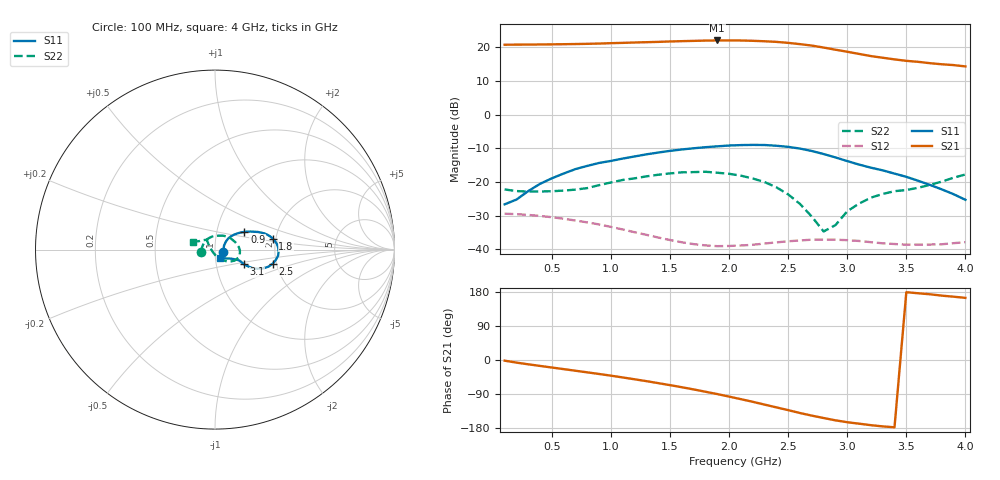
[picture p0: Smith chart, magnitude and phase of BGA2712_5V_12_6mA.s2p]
! Bias Vs=5.00 V; Is=12.6 mA
#  MHz  S  MA  R 50
! Freq  S11  S21  S12  S22
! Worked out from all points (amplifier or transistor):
!   40 points, 100 MHz to 4 GHz, reference 50 ohm
!   highest |S21| = 22.0 dB at 1.9 GHz (marker M1)
!   |S21| within 3 dB of that: start of sweep to 2.942 GHz
!   unconditionally stable (mu >= 1): start of sweep to end of sweep
!   at 700 MHz: K = 1.79, MAG = 21.1 dB, |S12| = -31.5 dB
!   at 2.1 GHz: K = 3.07, MAG = 22.7 dB, |S12| = -38.9 dB
!   at 4 GHz: K = 7.47, MAG = 14.4 dB, |S12| = -37.9 dB
!   S11 on the Smith chart (normalised r, x): 100 MHz: 1.09, -0.02; 900 MHz: 1.36, +0.28; 1.8 GHz: 1.92, +0.27; 2.5 GHz: 1.91, -0.33; 3.1 GHz: 1.36, -0.23; 4 GHz: 1.05, -0.10
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100  0.04637 -13.5  10.92 -1.7  0.03365 -2.3  0.07723 -170.0
500  0.113 39.9  11.06 -19.9  0.02984 -18.7  0.07266 116.8
800  0.1729 33.5  11.26 -32.6  0.02499 -26.4  0.08085 74.3
900  0.1912 31.1  11.37 -36.9  0.02331 -28.2  0.08941 60.4
1200  0.2387 24.6  11.79 -50.9  0.01786 -30.5  0.1128 27.5
1400  0.2728 20.3  12.04 -61.0  0.0149 -27.8  0.1277 11.9
1600  0.3031 16.0  12.34 -71.8  0.01266 -21.3  0.1387 -1.2
1800  0.3277 10.9  12.58 -83.7  0.01138 -11.5  0.1414 -12.7
1900  0.3375 8.0  12.64 -89.9  0.01108 -6.4  0.1368 -18.8
2100  0.3522 1.7  12.62 -103.4  0.01134 3.4  0.1237 -30.0
2200  0.3545 -1.7  12.49 -110.3  0.01162 7.4  0.1124 -35.7
2300  0.3533 -5.5  12.3 -117.7  0.01213 10.0  0.09943 -42.5
2400  0.3444 -9.3  12.04 -125.0  0.01261 12.0  0.08306 -48.9
2500  0.3316 -13.5  11.64 -132.3  0.0131 13.0  0.06518 -57.8
2600  0.3127 -17.7  11.14 -139.9  0.01348 13.1  0.04704 -69.3
2700  0.2878 -21.4  10.61 -146.8  0.01385 12.8  0.0305 -87.2
2800  0.2594 -24.3  9.919 -153.1  0.01385 12.4  0.01833 -131.9
2900  0.2311 -26.4  9.213 -159.2  0.01383 12.4  0.02274 171.1
3100  0.1808 -26.9  7.976 -168.0  0.01324 12.2  0.04761 140.1
3200  0.1627 -25.2  7.405 -172.0  0.0127 12.5  0.05827 134.4
3400  0.1328 -25.1  6.617 -177.6  0.01193 18.5  0.07276 131.7
4000  0.05422 -60.1  5.202 163.9  0.01268 37.1  0.1289 160.1
